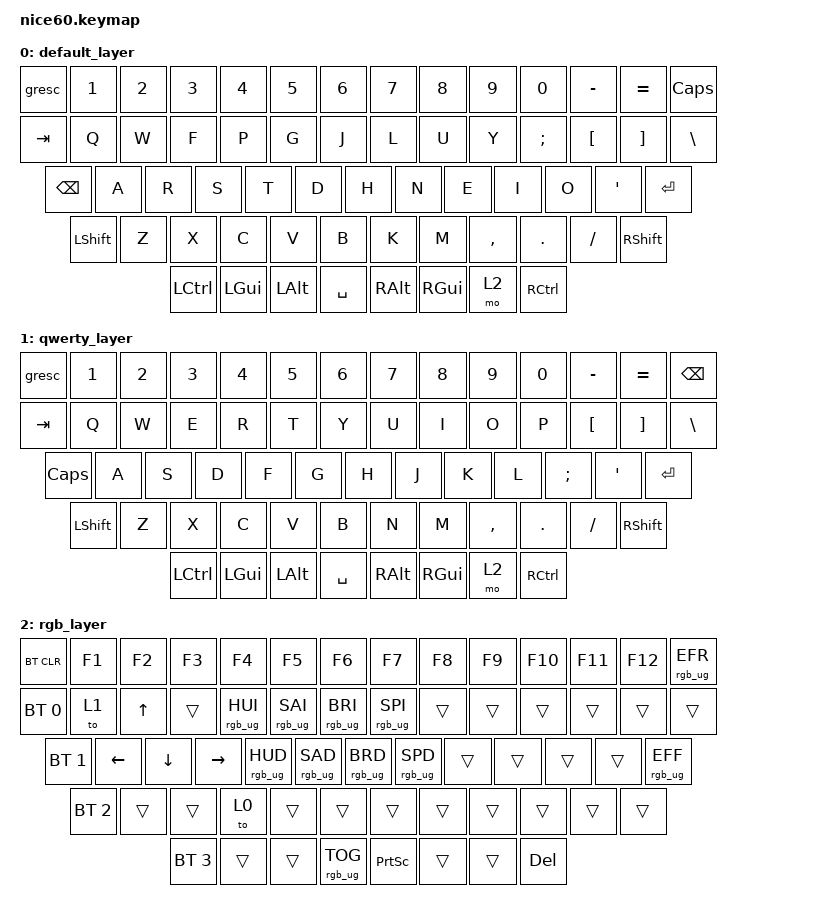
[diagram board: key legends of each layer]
/*
 * Copyright (c) 2021 Nick Winans
 *
 * SPDX-License-Identifier: MIT
 */

#include <behaviors.dtsi>
#include <dt-bindings/zmk/keys.h>
#include <dt-bindings/zmk/rgb.h>
#include <dt-bindings/zmk/bt.h>
#include <dt-bindings/zmk/outputs.h>
#include <dt-bindings/zmk/reset.h>
#include <dt-bindings/zmk/ext_power.h>

/ {
	keymap {
		compatible = "zmk,keymap";
		
		default_layer {
// ------------------------------------------------------------------------------------------
// | ESC |  1  |  2  |  3  |  4  |  5  |  6  |  7  |  8  |  9  |  0  |  -  |  =  |   BKSP   |
// | TAB  |  Q  |  W  |  F  |  P  |  G  |  J  |  L  |  U  |  Y  |  ;  |  [  |  ]  |   "|"   |
// | CAPS  |  A  |  R  |  S  |  T  |  D  |  H  |  N  |  E  |  I  |  O  |  '  |     ENTER    |
// |  SHIFT  |  Z  |  X  |  C  |  V  |  B  |  K  |  M  |  ,  |  .  |  /  |      SHIFT       |
// |  CTL  |  WIN  |  ALT  |            SPACE              |  ALT  |  WIN  |  MO(2) |  CTL  |
// ------------------------------------------------------------------------------------------
			bindings = <
	&gresc  &kp N1 &kp N2 &kp N3 &kp N4 &kp N5 &kp N6 &kp N7 &kp N8 &kp N9 &kp N0 &kp MINUS &kp EQUAL  &kp CLCK
	&kp TAB  &kp Q  &kp W  &kp F  &kp P  &kp G  &kp J  &kp L  &kp U  &kp Y  &kp SEMI  &kp LBKT  &kp RBKT  &kp BSLH
	&kp BSPC  &kp A  &kp R  &kp S  &kp T  &kp D  &kp H  &kp N  &kp E  &kp I  &kp O &kp SQT           &kp RET
	&kp LSHFT   &kp Z  &kp X  &kp C  &kp V  &kp B  &kp K  &kp M  &kp COMMA &kp DOT &kp FSLH           &kp RSHFT
	&kp LCTRL &kp LGUI &kp LALT             &kp SPACE                     &kp RALT  &kp RGUI  &mo 2   &kp RCTRL
			>;
		};
		
		qwerty_layer {
// ------------------------------------------------------------------------------------------
// | ESC |  1  |  2  |  3  |  4  |  5  |  6  |  7  |  8  |  9  |  0  |  -  |  =  |   BKSP   |
// | TAB  |  Q  |  W  |  E  |  R  |  T  |  Y  |  U  |  I  |  O  |  P  |  [  |  ]  |   "|"   |
// | CAPS  |  A  |  S  |  D  |  F  |  G  |  H  |  J  |  K  |  L  |  ;  |  '  |     ENTER    |
// |  SHIFT  |  Z  |  X  |  C  |  V  |  B  |  N  |  M  |  ,  |  .  |  /  |      SHIFT       |
// |  CTL  |  WIN  |  ALT  |            SPACE              |  ALT  |  WIN  |  MO(2) |  CTL  |
// ------------------------------------------------------------------------------------------
			bindings = <
	&gresc  &kp N1 &kp N2 &kp N3 &kp N4 &kp N5 &kp N6 &kp N7 &kp N8 &kp N9 &kp N0 &kp MINUS &kp EQUAL  &kp BSPC
	&kp TAB  &kp Q  &kp W  &kp E  &kp R  &kp T  &kp Y  &kp U  &kp I  &kp O  &kp P  &kp LBKT  &kp RBKT  &kp BSLH
	&kp CLCK  &kp A  &kp S  &kp D  &kp F  &kp G  &kp H  &kp J  &kp K  &kp L  &kp SEMI &kp SQT           &kp RET
	&kp LSHFT   &kp Z  &kp X  &kp C  &kp V  &kp B  &kp N  &kp M  &kp COMMA &kp DOT &kp FSLH           &kp RSHFT
	&kp LCTRL &kp LGUI &kp LALT             &kp SPACE                     &kp RALT  &kp RGUI  &mo 2   &kp RCTRL
			>;
		};
		
		rgb_layer {
// ------------------------------------------------------------------------------------------------
// | BT CLR | F1  | F2  | F3  | F4  | F5  | F6  | F7  | F8  | F9  | F10  | F11 | F12 | EFFECT REV |
// |  BT 1   |   |  UP |   | HUEUP | SATUP | BRIUP | SPDUP |   |     |    |     |     |           |
// |   BT 2   | LT |  DN  | RT | HUEDN | SATDN | BRIDN | SPDDN |   |     |   |     |  EFFECT FORW |
// |    BT 3     |     |      |      |     |     |     |     |     |     |     |                  |
// |   BT 4  |      |      |             TOG RGB                | PRT SCR |       |       |  DEL  |
// ------------------------------------------------------------------------------------------------
			bindings = <
	&bt BT_CLR   &kp F1    &kp F2    &kp F3  &kp F4           &kp F5          &kp F6          &kp F7          &kp F8   &kp F9   &kp F10  &kp F11 &kp F12  &rgb_ug RGB_EFR
	&bt BT_SEL 0  &to 1    &kp UP    &trans  &rgb_ug RGB_HUI  &rgb_ug RGB_SAI &rgb_ug RGB_BRI &rgb_ug RGB_SPI  &trans   &trans   &trans   &trans  &trans          &trans 
	&bt BT_SEL 1   &kp LEFT  &kp DOWN  &kp RIGHT &rgb_ug RGB_HUD &rgb_ug RGB_SAD &rgb_ug RGB_BRD &rgb_ug RGB_SPD &trans   &trans   &trans   &trans        &rgb_ug RGB_EFF
	&bt BT_SEL 2    &trans    &trans    &to 0   &trans          &trans          &trans          &trans          &trans   &trans   &trans                          &trans
	&bt BT_SEL 3  &trans   &trans                            &rgb_ug RGB_TOG                                      &kp PSCRN      &trans      &trans               &kp DEL
			>;
		};
	};
};
